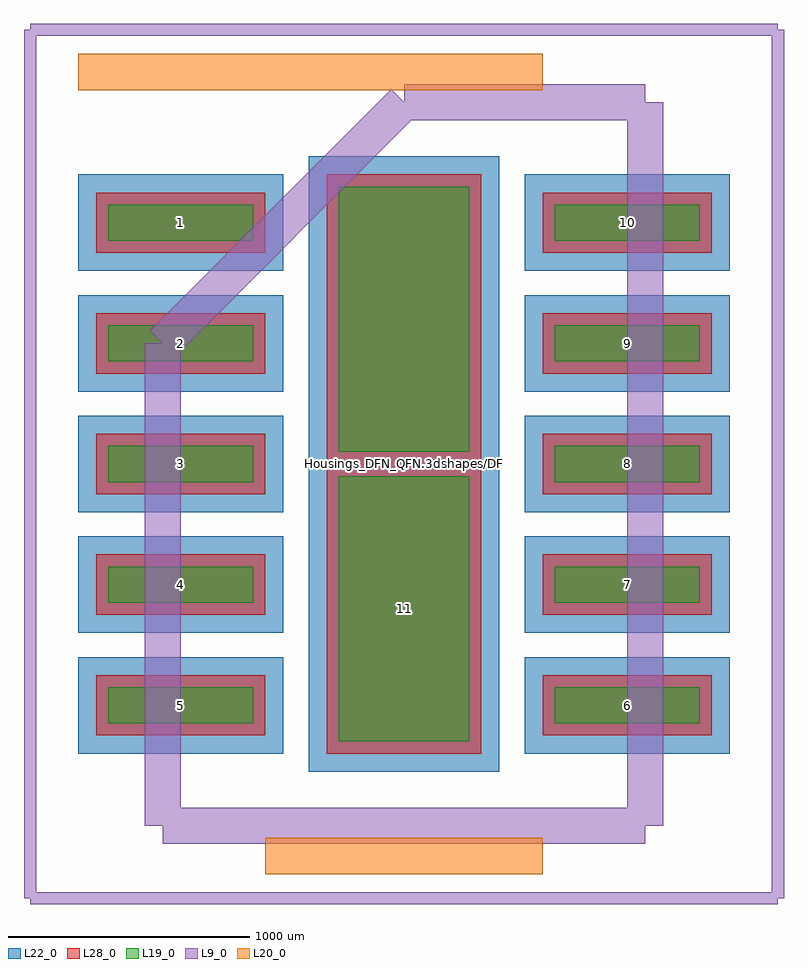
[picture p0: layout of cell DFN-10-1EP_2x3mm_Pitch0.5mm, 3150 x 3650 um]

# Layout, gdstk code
import gdstk
lib = gdstk.Library(unit=1e-6, precision=1e-09)
def R(c, l, rs):  # rectangles x0, y0, x1, y1
    for r in rs: c.add(gdstk.rectangle(r[:2], r[2:], *l))
def A(c, l, x, y, w, h, nx, ny, dx, dy):  # array of equal rectangles
    R(c, l, [(x+i*dx, y+j*dy, x+i*dx+w, y+j*dy+h) for i in range(nx) for j in range(ny)])
L9_0 = (9, 0)
L19_0 = (19, 0)
L20_0 = (20, 0)
L22_0 = (22, 0)
L28_0 = (28, 0)

dfn_10_1ep_2x3mm_pitch0_ = lib.new_cell('DFN-10-1EP_2x3mm_Pitch0.5mm')
A(dfn_10_1ep_2x3mm_pitch0_, L19_0, -1225, -1075, 600, 150, 1, 5, 0, 500)
A(dfn_10_1ep_2x3mm_pitch0_, L19_0, 625, -1075, 600, 150, 1, 5, 0, 500)
R(dfn_10_1ep_2x3mm_pitch0_, L19_0, [(-270,-1150,270,-50), (-270,50,270,1150)])
A(dfn_10_1ep_2x3mm_pitch0_, L22_0, -1350, -1200, 850, 400, 1, 5, 0, 500)
A(dfn_10_1ep_2x3mm_pitch0_, L22_0, 500, -1200, 850, 400, 1, 5, 0, 500)
R(dfn_10_1ep_2x3mm_pitch0_, L22_0, [(-395,-1275,395,75), (-395,-75,395,1275)])
A(dfn_10_1ep_2x3mm_pitch0_, L28_0, -1275, -1125, 700, 250, 1, 5, 0, 500)
A(dfn_10_1ep_2x3mm_pitch0_, L28_0, 575, -1125, 700, 250, 1, 5, 0, 500)
R(dfn_10_1ep_2x3mm_pitch0_, L28_0, [(-320,-1200,320,0), (-320,0,320,1200)])
dfn_10_1ep_2x3mm_pitch0_.add(gdstk.FlexPath([(-1350,1625),(575,1625)], 149.998, ends="flush", simple_path=True, layer=20, datatype=0))  # L20_0
dfn_10_1ep_2x3mm_pitch0_.add(gdstk.FlexPath([(-575,-1625),(575,-1625)], 149.998, ends="flush", simple_path=True, layer=20, datatype=0))  # L20_0
dfn_10_1ep_2x3mm_pitch0_.add(gdstk.FlexPath([(-1550,-1800),(1550,-1800)], 50, ends="flush", simple_path=True, layer=9, datatype=0))  # L9_0
dfn_10_1ep_2x3mm_pitch0_.add(gdstk.FlexPath([(-1550,1800),(1550,1800)], 50, ends="flush", simple_path=True, layer=9, datatype=0))  # L9_0
dfn_10_1ep_2x3mm_pitch0_.add(gdstk.FlexPath([(1550,1800),(1550,-1800)], 50, ends="flush", simple_path=True, layer=9, datatype=0))  # L9_0
dfn_10_1ep_2x3mm_pitch0_.add(gdstk.FlexPath([(-1550,1800),(-1550,-1800)], 50, ends="flush", simple_path=True, layer=9, datatype=0))  # L9_0
dfn_10_1ep_2x3mm_pitch0_.add(gdstk.FlexPath([(-1000,500),(0,1500)], 149.998, ends="flush", simple_path=True, layer=9, datatype=0))  # L9_0
dfn_10_1ep_2x3mm_pitch0_.add(gdstk.FlexPath([(-1000,-1500),(-1000,500)], 149.998, ends="flush", simple_path=True, layer=9, datatype=0))  # L9_0
dfn_10_1ep_2x3mm_pitch0_.add(gdstk.FlexPath([(1000,-1500),(-1000,-1500)], 149.998, ends="flush", simple_path=True, layer=9, datatype=0))  # L9_0
dfn_10_1ep_2x3mm_pitch0_.add(gdstk.FlexPath([(1000,1500),(1000,-1500)], 149.998, ends="flush", simple_path=True, layer=9, datatype=0))  # L9_0
dfn_10_1ep_2x3mm_pitch0_.add(gdstk.FlexPath([(0,1500),(1000,1500)], 149.998, ends="flush", simple_path=True, layer=9, datatype=0))  # L9_0
dfn_10_1ep_2x3mm_pitch0_.add(gdstk.Label('Housings_DFN_QFN.3dshapes/DFN-10-1EP_2x3mm_Pitch0.5mm.wrl', (0,0), layer=12, texttype=0))
dfn_10_1ep_2x3mm_pitch0_.add(gdstk.Label('11', (0,-600), layer=28, texttype=0))
dfn_10_1ep_2x3mm_pitch0_.add(gdstk.Label('10', (925,1000), layer=28, texttype=0))
dfn_10_1ep_2x3mm_pitch0_.add(gdstk.Label('9', (925,500), layer=28, texttype=0))
dfn_10_1ep_2x3mm_pitch0_.add(gdstk.Label('8', (925,0), layer=28, texttype=0))
dfn_10_1ep_2x3mm_pitch0_.add(gdstk.Label('7', (925,-500), layer=28, texttype=0))
dfn_10_1ep_2x3mm_pitch0_.add(gdstk.Label('6', (925,-1000), layer=28, texttype=0))
dfn_10_1ep_2x3mm_pitch0_.add(gdstk.Label('5', (-925,-1000), layer=28, texttype=0))
dfn_10_1ep_2x3mm_pitch0_.add(gdstk.Label('4', (-925,-500), layer=28, texttype=0))
dfn_10_1ep_2x3mm_pitch0_.add(gdstk.Label('3', (-925,0), layer=28, texttype=0))
dfn_10_1ep_2x3mm_pitch0_.add(gdstk.Label('2', (-925,500), layer=28, texttype=0))
dfn_10_1ep_2x3mm_pitch0_.add(gdstk.Label('1', (-925,1000), layer=28, texttype=0))
dfn_10_1ep_2x3mm_pitch0_.add(gdstk.Label('type', (0,-2550), layer=9, texttype=0))
dfn_10_1ep_2x3mm_pitch0_.add(gdstk.Label('devicename', (0,2550), layer=9, texttype=0))

lib.write_gds('DFN-10-1EP_2x3mm_Pitch0.5mm.gds')
